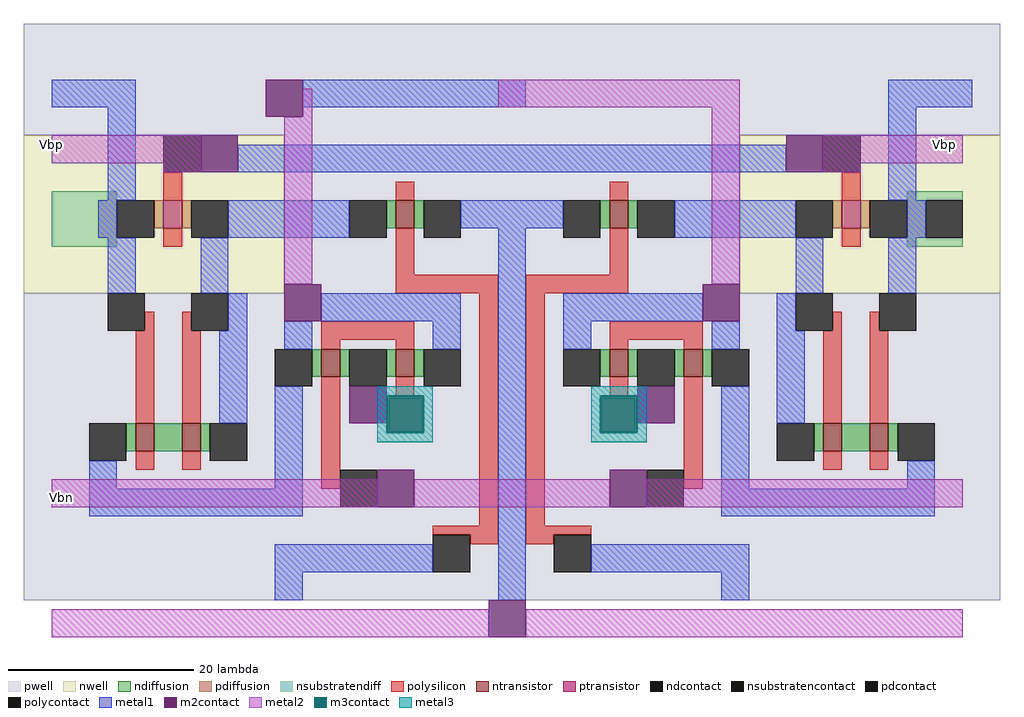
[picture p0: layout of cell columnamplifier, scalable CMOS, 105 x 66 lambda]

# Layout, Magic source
magic
tech scmos
<< nwell >>
rect -3 -23 25 -6
rect 74 -23 102 -6
<< pwell >>
rect -3 -6 102 6
rect 25 -23 74 -6
rect -3 -56 102 -23
<< ntransistor >>
rect 37 -16 39 -13
rect 60 -16 62 -13
rect 29 -32 31 -29
rect 9 -40 11 -37
rect 14 -40 16 -37
rect 37 -32 39 -29
rect 60 -32 62 -29
rect 68 -32 70 -29
rect 83 -40 85 -37
rect 88 -40 90 -37
<< ptransistor >>
rect 12 -16 14 -13
rect 85 -16 87 -13
<< ndiffusion >>
rect 36 -16 37 -13
rect 39 -16 40 -13
rect 59 -16 60 -13
rect 62 -16 63 -13
rect 28 -32 29 -29
rect 31 -32 32 -29
rect 8 -40 9 -37
rect 11 -40 14 -37
rect 16 -40 17 -37
rect 36 -32 37 -29
rect 39 -32 40 -29
rect 59 -32 60 -29
rect 62 -32 63 -29
rect 67 -32 68 -29
rect 70 -32 71 -29
rect 82 -40 83 -37
rect 85 -40 88 -37
rect 90 -40 91 -37
<< pdiffusion >>
rect 11 -16 12 -13
rect 14 -16 15 -13
rect 84 -16 85 -13
rect 87 -16 88 -13
<< ndcontact >>
rect 32 -17 36 -13
rect 40 -17 44 -13
rect 55 -17 59 -13
rect 63 -17 67 -13
rect 24 -33 28 -29
rect 4 -41 8 -37
rect 17 -41 21 -37
rect 32 -33 36 -29
rect 40 -33 44 -29
rect 55 -33 59 -29
rect 63 -33 67 -29
rect 71 -33 75 -29
rect 78 -41 82 -37
rect 91 -41 95 -37
<< pdcontact >>
rect 7 -17 11 -13
rect 15 -17 19 -13
rect 80 -17 84 -13
rect 88 -17 92 -13
<< nsubstratendiff >>
rect 0 -18 7 -12
rect 92 -13 98 -12
rect 92 -17 94 -13
rect 92 -18 98 -17
<< nsubstratencontact >>
rect 94 -17 98 -13
<< polysilicon >>
rect 12 -13 14 -10
rect 37 -13 39 -11
rect 60 -13 62 -11
rect 85 -13 87 -10
rect 12 -18 14 -16
rect 37 -21 39 -16
rect 60 -21 62 -16
rect 85 -18 87 -16
rect 37 -23 48 -21
rect 10 -27 11 -25
rect 9 -37 11 -27
rect 14 -27 15 -25
rect 14 -37 16 -27
rect 29 -28 39 -26
rect 29 -29 31 -28
rect 37 -29 39 -28
rect 9 -42 11 -40
rect 14 -42 16 -40
rect 29 -44 31 -32
rect 37 -34 39 -32
rect 46 -48 48 -23
rect 41 -49 48 -48
rect 45 -50 48 -49
rect 51 -23 62 -21
rect 51 -48 53 -23
rect 60 -28 70 -26
rect 84 -27 85 -25
rect 60 -29 62 -28
rect 68 -29 70 -28
rect 60 -34 62 -32
rect 68 -44 70 -32
rect 83 -37 85 -27
rect 88 -27 89 -25
rect 88 -37 90 -27
rect 83 -42 85 -40
rect 88 -42 90 -40
rect 51 -49 58 -48
rect 51 -50 54 -49
<< polycontact >>
rect 12 -10 16 -6
rect 83 -10 87 -6
rect 6 -27 10 -23
rect 15 -27 19 -23
rect 31 -46 35 -42
rect 41 -53 45 -49
rect 80 -27 84 -23
rect 64 -46 68 -42
rect 89 -27 93 -23
rect 54 -53 58 -49
<< metal1 >>
rect 0 -3 9 0
rect 6 -13 9 -3
rect 27 -3 51 0
rect 90 -3 99 0
rect 20 -10 79 -7
rect 90 -13 93 -3
rect 5 -17 7 -13
rect 19 -17 32 -13
rect 44 -16 55 -13
rect 6 -23 9 -17
rect 16 -23 19 -17
rect 19 -27 21 -23
rect 18 -37 21 -27
rect 29 -26 44 -23
rect 25 -29 28 -26
rect 41 -29 44 -26
rect 4 -44 7 -41
rect 24 -44 27 -33
rect 4 -47 27 -44
rect 24 -53 41 -50
rect 24 -56 27 -53
rect 48 -56 51 -16
rect 67 -17 80 -13
rect 92 -17 94 -13
rect 55 -26 70 -23
rect 80 -23 83 -17
rect 90 -23 93 -17
rect 55 -29 58 -26
rect 71 -29 74 -26
rect 78 -27 80 -23
rect 72 -44 75 -33
rect 78 -37 81 -27
rect 92 -44 95 -41
rect 72 -47 95 -44
rect 58 -53 75 -50
rect 72 -56 75 -53
<< m2contact >>
rect 23 -4 27 0
rect 16 -10 20 -6
rect 79 -10 83 -6
rect 25 -26 29 -22
rect 32 -37 36 -33
rect 35 -46 39 -42
rect 70 -26 74 -22
rect 63 -37 67 -33
rect 60 -46 64 -42
rect 47 -60 51 -56
<< metal2 >>
rect 27 -4 28 -1
rect 48 -3 74 0
rect 0 -9 16 -6
rect 12 -10 16 -9
rect 25 -22 28 -4
rect 71 -22 74 -3
rect 83 -9 98 -6
rect 83 -10 87 -9
rect 0 -46 35 -43
rect 39 -46 60 -43
rect 64 -46 98 -43
rect 0 -60 47 -57
rect 51 -60 98 -57
<< m3contact >>
rect 36 -38 40 -34
rect 59 -38 63 -34
<< metal3 >>
rect 35 -34 41 -33
rect 35 -38 36 -34
rect 40 -38 41 -34
rect 35 -39 41 -38
rect 58 -34 64 -33
rect 58 -38 59 -34
rect 63 -38 64 -34
rect 58 -39 64 -38
<< labels >>
rlabel metal2 0 -7 0 -7 3 Vbp
rlabel metal2 96 -7 96 -7 3 Vbp
rlabel metal2 1 -45 1 -45 1 Vbn
<< end >>
